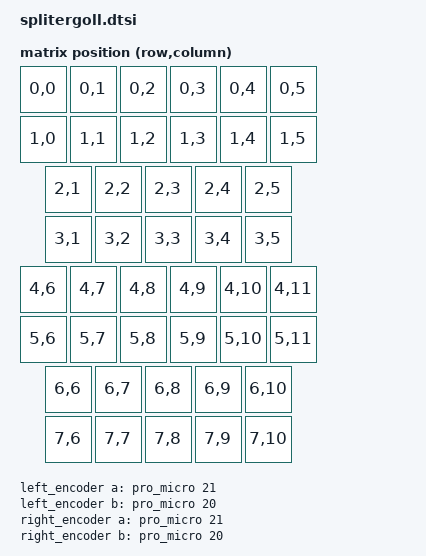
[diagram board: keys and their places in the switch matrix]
#include <dt-bindings/zmk/matrix_transform.h>

/ {
    chosen {
        zmk,kscan = &kscan0;
        zmk,matrix-transform = &default_transform;
    };

    default_transform: keymap_transform_0 {
        compatible = "zmk,matrix-transform";
        columns = <12>;
        rows = <8>;

//         |                               LEFT HALF                               |   |                               RIGHT HALF                              |
//         |           |           |           |           |           |           |   |           |           |           |           |           |           |
        map = <
            RC(0,0)     RC(0,1)     RC(0,2)     RC(0,3)     RC(0,4)     RC(0,5)
            RC(1,0)     RC(1,1)     RC(1,2)     RC(1,3)     RC(1,4)     RC(1,5)
                        RC(2,1)     RC(2,2)     RC(2,3)     RC(2,4)     RC(2,5)
                        RC(3,1)     RC(3,2)     RC(3,3)     RC(3,4)     RC(3,5)

                                                                                        RC(4,6)     RC(4,7)     RC(4,8)     RC(4,9)     RC(4,10)     RC(4,11)
                                                                                        RC(5,6)     RC(5,7)     RC(5,8)     RC(5,9)     RC(5,10)     RC(5,11)
                                                                                        RC(6,6)     RC(6,7)     RC(6,8)     RC(6,9)     RC(6,10)
                                                                                        RC(7,6)     RC(7,7)     RC(7,8)     RC(7,9)     RC(7,10)
        >;
//         |           |           |           |           |           |           |   |           |           |           |           |           |           |
//         |                               LEFT HALF                               |   |                               RIGHT HALF                              |
    };

    kscan0: kscan {
        compatible = "zmk,kscan-gpio-matrix";
        diode-direction = "col2row";
    };

    left_encoder: encoder_left {
        compatible = "alps,ec11";
        a-gpios = <&pro_micro 21 (GPIO_ACTIVE_HIGH | GPIO_PULL_UP)>;
        b-gpios = <&pro_micro 20 (GPIO_ACTIVE_HIGH | GPIO_PULL_UP)>;
        steps = <80>;
        status = "disabled";
    };

    right_encoder: encoder_right {
        compatible = "alps,ec11";
        a-gpios = <&pro_micro 21 (GPIO_ACTIVE_HIGH | GPIO_PULL_UP)>;
        b-gpios = <&pro_micro 20 (GPIO_ACTIVE_HIGH | GPIO_PULL_UP)>;
        steps = <80>;
        status = "disabled";
    };

    sensors: sensors {
        compatible = "zmk,keymap-sensors";
        sensors = <&left_encoder &right_encoder>;
        triggers-per-rotation = <20>;
    };
};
